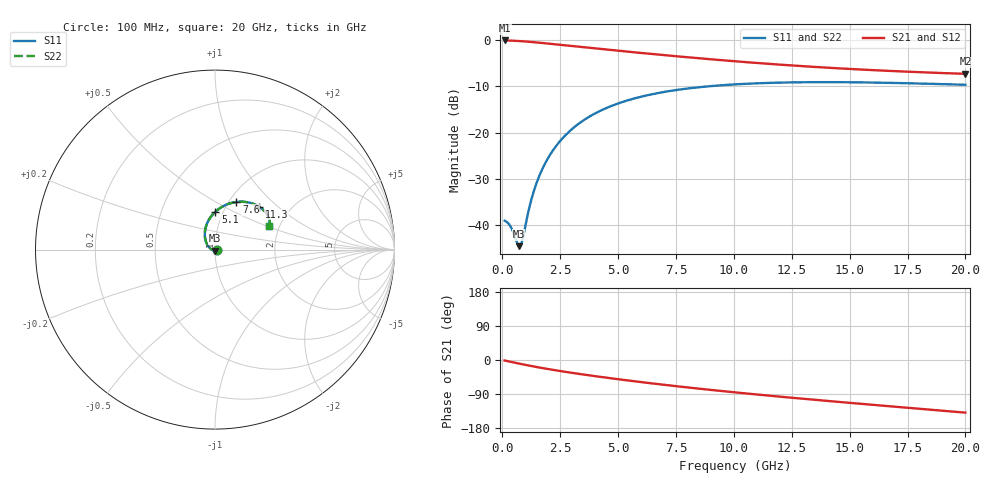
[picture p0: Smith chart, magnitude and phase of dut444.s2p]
! Touchstone file exported from HFSS 2024.1.0
!  File:  C:/UserFiles/LocalFiles/RDL_TSV_Batchsim/temp_RDL_TSV_444_1779723452.aedt
!  Generated:  11:54:55 PM May 25, 2026
!  Design:  RDL_TSV
!  Project:  temp_RDL_TSV_444_1779723452
!  Setup:  Setup1
!  Solution:  Sweep
! Variables:
!  dtsv = 9.67um
!  hbump = 3um
!  htsv = 82.68um
!  ldown = 224.19um
!  lrdl = 242.87um
!  p = 40
!  p1 = 52.19um
!  rhole = 10um
!  subl = 1644.05um
!  t = 450um
!  tdown = 2.43um
!  trdl = 4.2um
!  viad = 10um
!  wdown = 15.68um
!  wrdl = 18.99um
!  xbump = 18um
# GHz S MA R 50.000000
! Terminal data exported
! Port[1] = TM1_1_T1
! Port[2] = TM1_4_T1
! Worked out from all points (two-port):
!   200 points, 100 MHz to 20 GHz, reference 50 ohm
!   highest |S21| = -0.10 dB at 100 MHz (marker M1); lowest = -7.3 dB at 20 GHz (marker M2)
!   |S21| within 3 dB of the highest: start of sweep to 6.638 GHz
!   lowest |S11| = -44.5 dB at 700 MHz (marker M3), VSWR 1.01, Z = 50.1 - j0.589 ohm
!   |S11| at or under -10 dB: start of sweep to 8.887 GHz
!   |S22| runs from -44.5 to -9.1 dB; largest |S21 - S12| = 1.3e-14
!   S11 on the Smith chart (normalised r, x): 100 MHz: 1.02, -0.00; 5.1 GHz: 0.92, +0.40; 7.6 GHz: 1.08, +0.63; 11.3 GHz: 1.41, +0.76; 20 GHz: 1.76, +0.52
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0.1  0.01125 -5.2  0.9883 -1.4  0.9883 -1.4  0.01125 -5.2
! Gamma 0 0 0 0
! Port Impedance 50 0 50 0
0.4  0.00931 -27.0  0.9836 -5.3  0.9836 -5.3  0.009313 -27.0
0.7  0.005979 -79.4  0.9751 -9.2  0.9751 -9.2  0.005984 -79.3
0.8  0.006067 -109.8  0.9716 -10.4  0.9716 -10.4  0.006068 -109.7
0.9  0.007502 -137.1  0.9677 -11.7  0.9677 -11.7  0.007497 -137.0
1.1  0.01318 -169.0  0.9592 -14.1  0.9592 -14.1  0.01317 -168.9
1.3  0.02082 174.6  0.9498 -16.5  0.9498 -16.5  0.02079 174.7
1.5  0.02959 163.8  0.9398 -18.7  0.9398 -18.7  0.02955 163.8
1.8  0.04415 151.9  0.9239 -22.0  0.9239 -22.0  0.0441 151.9
2.1  0.0598 142.5  0.9076 -25.2  0.9076 -25.2  0.05973 142.5
2.5  0.08152 132.2  0.8859 -29.1  0.8859 -29.1  0.08143 132.2
3  0.1089 121.3  0.8595 -33.8  0.8595 -33.8  0.1088 121.4
3.5  0.1357 112.2  0.8343 -38.3  0.8343 -38.3  0.1355 112.2
4.2  0.1707 101.2  0.801 -44.3  0.801 -44.3  0.1706 101.2
5.1  0.2108 89.5  0.7612 -51.5  0.7612 -51.5  0.2106 89.5
6.8  0.2699 72.4  0.6936 -64.2  0.6936 -64.2  0.2696 72.4
7.6  0.2907 65.9  0.6649 -69.7  0.6649 -69.7  0.2904 65.9
10.1  0.3327 50.1  0.588 -85.7  0.588 -85.7  0.3323 50.0
11.3  0.3431 44.3  0.5577 -92.8  0.5577 -92.8  0.3427 44.2
13.4  0.3508 36.2  0.5138 -104.5  0.5138 -104.5  0.3503 36.2
16.7  0.345 27.8  0.4642 -121.9  0.4642 -121.9  0.3444 27.7
20  0.3289 23.8  0.4315 -138.9  0.4315 -138.9  0.3282 23.7
